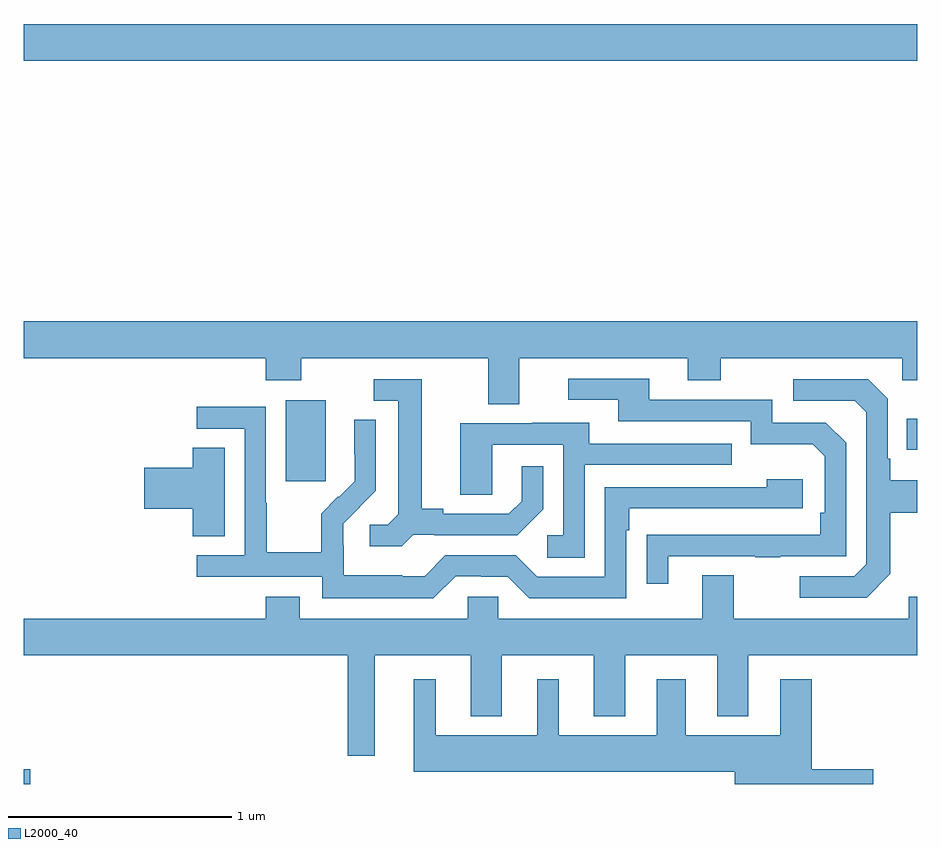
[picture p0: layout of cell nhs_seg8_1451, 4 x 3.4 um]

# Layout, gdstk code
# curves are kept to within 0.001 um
import gdstk
lib = gdstk.Library(unit=1e-6, precision=1e-09)
def R(c, l, rs):  # rectangles x0, y0, x1, y1
    for r in rs: c.add(gdstk.rectangle(r[:2], r[2:], *l))
def P(c, l, *ps):  # polygons
    for p in ps: c.add(gdstk.Polygon(p, *l))
L2000_40 = (2000, 40)

nhs_seg8_1451 = lib.new_cell('nhs_seg8_1451')
R(nhs_seg8_1451, L2000_40, [(203,1139.9,203.029,1139.966), (204.173,1141.257,204.352,1141.618), (206.953,1141.397,207,1141.537), (203,1143.14,207,1143.304)])
P(nhs_seg8_1451, L2000_40, [(205.219,1141.808),(205.973,1141.808),(205.973,1141.709),(206.121,1141.709),(206.121,1141.808),(206.934,1141.808),(206.934,1141.709),(207,1141.709),(207,1141.972),(203,1141.972),(203,1141.808),(204.083,1141.808),(204.083,1141.709),(204.243,1141.709),(204.243,1141.808),(205.079,1141.808),(205.079,1141.6),(205.219,1141.6)],
  [(205.885,1140.921),(206.275,1140.921),(206.275,1140.916),(206.387,1140.916),(206.387,1140.921),(206.682,1140.921),(206.682,1141.428),(206.592,1141.518),(206.352,1141.518),(206.352,1141.62),(205.801,1141.62),(205.801,1141.716),(205.437,1141.716),(205.437,1141.62),(205.661,1141.62),(205.661,1141.524),(206.256,1141.524),(206.256,1141.421),(206.533,1141.421),(206.586,1141.368),(206.586,1141.114),(206.566,1141.114),(206.566,1141.017),(205.789,1141.016),(205.789,1140.798),(205.885,1140.798)],
  [(204.744,1141.017),(204.838,1141.017),(204.838,1141.014),(205.21,1141.014),(205.326,1141.13),(205.326,1141.324),(205.229,1141.324),(205.229,1141.167),(205.172,1141.11),(204.877,1141.11),(204.877,1141.133),(204.781,1141.133),(204.781,1141.713),(204.567,1141.713),(204.567,1141.617),(204.677,1141.617),(204.677,1141.109),(204.63,1141.062),(204.549,1141.062),(204.549,1140.965),(204.692,1140.965)],
  [(206.881,1140.841),(206.881,1141.114),(207,1141.114),(207,1141.261),(206.881,1141.261),(206.881,1141.357),(206.868,1141.357),(206.868,1141.626),(206.781,1141.713),(206.445,1141.713),(206.445,1141.617),(206.721,1141.617),(206.772,1141.566),(206.772,1140.885),(206.718,1140.831),(206.475,1140.831),(206.475,1140.735),(206.775,1140.735)],
  [(204.933,1140.831),(205.049,1140.831),(205.049,1140.828),(205.167,1140.828),(205.263,1140.732),(205.698,1140.732),(205.698,1141.037),(205.711,1141.037),(205.711,1141.134),(206.488,1141.134),(206.488,1141.264),(206.327,1141.264),(206.327,1141.23),(205.602,1141.23),(205.602,1140.828),(205.299,1140.828),(205.203,1140.924),(204.888,1140.924),(204.795,1140.831),(204.695,1140.831),(204.695,1140.835),(204.432,1140.835),(204.432,1140.969),(204.43,1140.969),(204.43,1141.066),(204.576,1141.214),(204.576,1141.532),(204.48,1141.532),(204.48,1141.378),(204.482,1141.378),(204.482,1141.256),(204.411,1141.185),(204.408,1141.188),(204.331,1141.111),(204.331,1140.937),(204.087,1140.937),(204.087,1141.16),(204.084,1141.16),(204.084,1141.59),(203.775,1141.59),(203.775,1141.491),(203.988,1141.491),(203.988,1140.924),(203.775,1140.924),(203.775,1140.828),(204.336,1140.828),(204.336,1140.731),(204.833,1140.731)],
  [(205.512,1141.329),(206.171,1141.329),(206.171,1141.425),(205.531,1141.425),(205.531,1141.519),(205.277,1141.519),(205.277,1141.515),(204.953,1141.515),(204.953,1141.195),(205.098,1141.195),(205.098,1141.419),(205.416,1141.419),(205.416,1141.014),(205.344,1141.014),(205.344,1140.913),(205.512,1140.913)],
  [(203.899,1141.406),(203.756,1141.406),(203.756,1141.316),(203.538,1141.316),(203.538,1141.133),(203.756,1141.133),(203.756,1141.009),(203.899,1141.009)],
  [(204.571,1140.476),(205.001,1140.476),(205.001,1140.203),(205.141,1140.203),(205.141,1140.476),(205.553,1140.476),(205.553,1140.203),(205.693,1140.203),(205.693,1140.476),(206.105,1140.476),(206.105,1140.203),(206.245,1140.203),(206.245,1140.476),(207,1140.476),(207,1140.739),(206.963,1140.739),(206.963,1140.64),(206.179,1140.64),(206.179,1140.835),(206.039,1140.835),(206.039,1140.64),(205.125,1140.64),(205.125,1140.738),(204.987,1140.738),(204.987,1140.64),(204.235,1140.64),(204.235,1140.739),(204.083,1140.739),(204.083,1140.64),(203,1140.64),(203,1140.476),(204.45,1140.476),(204.45,1140.027),(204.571,1140.027)],
  [(206.803,1139.966),(206.528,1139.966),(206.528,1140.37),(206.387,1140.37),(206.387,1140.118),(205.963,1140.118),(205.963,1140.37),(205.835,1140.37),(205.835,1140.118),(205.396,1140.118),(205.396,1140.37),(205.298,1140.37),(205.298,1140.118),(204.844,1140.118),(204.844,1140.37),(204.746,1140.37),(204.746,1139.954),(206.183,1139.954),(206.183,1139.9),(206.803,1139.9)])

lib.write_gds('nhs_seg8_1451.gds')
